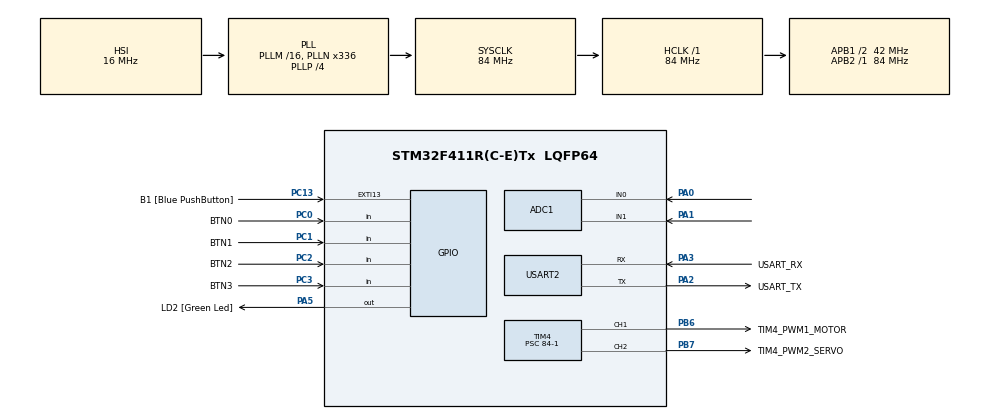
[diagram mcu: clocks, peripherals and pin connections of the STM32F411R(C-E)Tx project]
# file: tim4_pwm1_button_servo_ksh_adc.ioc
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ADC1.Channel-0\#ChannelRegularConversion=ADC_CHANNEL_0
ADC1.Channel-1\#ChannelRegularConversion=ADC_CHANNEL_1
ADC1.ClockPrescaler=ADC_CLOCK_SYNC_PCLK_DIV6
ADC1.NbrOfConversion=2
ADC1.NbrOfConversionFlag=1
ADC1.Rank-0\#ChannelRegularConversion=1
ADC1.Rank-1\#ChannelRegularConversion=2
ADC1.SamplingTime-0\#ChannelRegularConversion=ADC_SAMPLETIME_84CYCLES
ADC1.SamplingTime-1\#ChannelRegularConversion=ADC_SAMPLETIME_84CYCLES
ADC1.master=1
Mcu.Family=STM32F4
Mcu.Name=STM32F411R(C-E)Tx
Mcu.Package=LQFP64
NVIC.ADC_IRQn=true\:0\:0\:false\:false\:true\:true\:true\:true
NVIC.PriorityGroup=NVIC_PRIORITYGROUP_0
NVIC.TIM4_IRQn=true\:0\:0\:false\:false\:true\:true\:true\:true
PA0-WKUP.Signal=ADCx_IN0
PA1.Signal=ADCx_IN1
PA13.GPIO_Label=TMS
PA13.Mode=Serial_Wire
PA13.Signal=SYS_JTMS-SWDIO
PA14.GPIO_Label=TCK
PA14.Mode=Serial_Wire
PA14.Signal=SYS_JTCK-SWCLK
PA2.GPIO_Label=USART_TX
PA2.Mode=Asynchronous
PA2.Signal=USART2_TX
PA3.GPIO_Label=USART_RX
PA3.Mode=Asynchronous
PA3.Signal=USART2_RX
PA5.GPIO_Label=LD2 [Green Led]
PA5.Signal=GPIO_Output
PB3.GPIO_Label=SWO
PB3.Signal=SYS_JTDO-SWO
PB6.GPIO_Label=TIM4_PWM1_MOTOR
PB6.Signal=S_TIM4_CH1
PB7.GPIO_Label=TIM4_PWM2_SERVO
PB7.Signal=S_TIM4_CH2
PC0.GPIO_Label=BTN0
PC0.Signal=GPIO_Input
PC1.GPIO_Label=BTN1
PC1.Signal=GPIO_Input
PC13-ANTI_TAMP.GPIO_Label=B1 [Blue PushButton]
PC13-ANTI_TAMP.GPIO_ModeDefaultEXTI=GPIO_MODE_IT_FALLING
PC13-ANTI_TAMP.Signal=GPXTI13
PC14-OSC32_IN.Mode=LSE-External-Oscillator
PC14-OSC32_IN.Signal=RCC_OSC32_IN
PC15-OSC32_OUT.Mode=LSE-External-Oscillator
PC15-OSC32_OUT.Signal=RCC_OSC32_OUT
PC2.GPIO_Label=BTN2
PC2.Signal=GPIO_Input
PC3.GPIO_Label=BTN3
PC3.Signal=GPIO_Input
PH0\ -\ OSC_IN.Mode=HSE-External-Clock-Source
PH0\ -\ OSC_IN.Signal=RCC_OSC_IN
PH1\ -\ OSC_OUT.Mode=HSE-External-Clock-Source
PH1\ -\ OSC_OUT.Signal=RCC_OSC_OUT
ProjectManager.HeapSize=0x200
ProjectManager.StackSize=0x400
ProjectManager.TargetToolchain=STM32CubeIDE
RCC.48MHZClocksFreq_Value=84000000
RCC.AHBFreq_Value=84000000
RCC.APB1CLKDivider=RCC_HCLK_DIV2
RCC.APB1Freq_Value=42000000
RCC.APB1TimFreq_Value=84000000
RCC.APB2Freq_Value=84000000
RCC.APB2TimFreq_Value=84000000
RCC.CortexFreq_Value=84000000
RCC.FLatency-AdvancedSettings=FLASH_LATENCY_2
RCC.HCLKFreq_Value=84000000
RCC.HSE_VALUE=8000000
RCC.HSI_VALUE=16000000
RCC.PLLN=336
RCC.PLLP=RCC_PLLP_DIV4
RCC.SYSCLKFreq_VALUE=84000000
RCC.SYSCLKSource=RCC_SYSCLKSOURCE_PLLCLK
RCC.VCOOutputFreq_Value=336000000
SH.ADCx_IN0.0=ADC1_IN0,IN0
SH.ADCx_IN1.0=ADC1_IN1,IN1
SH.S_TIM4_CH1.0=TIM4_CH1,PWM Generation1 CH1
SH.S_TIM4_CH2.0=TIM4_CH2,PWM Generation2 CH2
TIM4.AutoReloadPreload=TIM_AUTORELOAD_PRELOAD_ENABLE
TIM4.Channel-PWM\ Generation1\ CH1=TIM_CHANNEL_1
TIM4.Channel-PWM\ Generation2\ CH2=TIM_CHANNEL_2
TIM4.Period=20000-1
TIM4.Prescaler=84-1
TIM4.Pulse-PWM\ Generation1\ CH1=0
USART2.VirtualMode=VM_ASYNC
VP_TIM4_VS_ClockSourceINT.Mode=Internal
board=NUCLEO-F411RE

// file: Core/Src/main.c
/* USER CODE BEGIN Header */
/**
  ******************************************************************************
  * @file           : main.c
  * @brief          : Main program body
  ******************************************************************************
  * @attention
  *
  * Copyright (c) 2025 STMicroelectronics.
  * All rights reserved.
  *
  * This software is licensed under terms that can be found in the LICENSE file
  * in the root directory of this software component.
  * If no LICENSE file comes with this software, it is provided AS-IS.
  *
  ******************************************************************************
  */
/* USER CODE END Header */
#include "main.h"

/* USER CODE BEGIN Includes */
#include <stdio.h>
/* USER CODE END Includes */

/* USER CODE BEGIN PD */
#ifdef __GNUC__
/* With GCC, small printf (option LD Linker->Libraries->Small printf
   set to 'Yes') calls __io_putchar() */
#define PUTCHAR_PROTOTYPE int __io_putchar(int ch)
#else
#define PUTCHAR_PROTOTYPE int fputc(int ch, FILE *f)
#endif /* __GNUC__ */
/* USER CODE END PD */

ADC_HandleTypeDef hadc1;

TIM_HandleTypeDef htim4;

UART_HandleTypeDef huart2;

/* USER CODE BEGIN PV */
volatile int time3SecFlag = 0;
volatile unsigned int time3SecCnt=0;
volatile unsigned int time3Cnt = 0;
volatile int time3CntFlag = 1;
volatile int time3_100msFlag=0;
unsigned long debounceDelay = 100;	//100ms
unsigned long lastDebounceTime = 0;
__IO uint16_t ADC1ConvertValue[2]={0};
__IO int adcFlag = 0;
/* USER CODE END PV */

void SystemClock_Config(void);
static void MX_GPIO_Init(void);
static void MX_USART2_UART_Init(void);
static void MX_TIM4_Init(void);
static void MX_ADC1_Init(void);
/* USER CODE BEGIN PFP */
int getKeyNumber();
/* USER CODE END PFP */

int main(void)
{

  /* USER CODE BEGIN 1 */
	int pluse = 0;
	int keyNumber = 0;
  /* USER CODE END 1 */

  /* MCU Configuration--------------------------------------------------------*/

  /* Reset of all peripherals, Initializes the Flash interface and the Systick. */
  HAL_Init();

  /* Configure the system clock */
  SystemClock_Config();

  /* Initialize all configured peripherals */
  MX_GPIO_Init();
  MX_USART2_UART_Init();
  MX_TIM4_Init();
  MX_ADC1_Init();
  /* USER CODE BEGIN 2 */
  if(HAL_TIM_Base_Start_IT(&htim4) != HAL_OK)
	  Error_Handler();
  if(HAL_TIM_PWM_Start(&htim4,TIM_CHANNEL_1) != HAL_OK)
	  Error_Handler();
  if(HAL_TIM_PWM_Start(&htim4,TIM_CHANNEL_2) != HAL_OK)
	  Error_Handler();
  /* USER CODE END 2 */

  /* Infinite loop */
  /* USER CODE BEGIN WHILE */
  printf("start main()\r\n");
  if(HAL_ADC_Start_IT(&hadc1) != HAL_OK)
	  Error_Handler();
  lastDebounceTime = HAL_GetTick();
  while (1)
  {

//	  HAL_GPIO_WritePin(LD2_GPIO_Port,LD2_Pin,HAL_GPIO_ReadPin(BTN3_GPIO_Port,BTN3_Pin));
	  if(time3SecFlag)
	  {
		  HAL_GPIO_TogglePin(LD2_GPIO_Port,LD2_Pin);
		  time3SecFlag = 0;
//		  printf("time3SecCnt : %d, pluse : %d\r\n",time3SecCnt,pluse);
	  }
	  if(adcFlag)
	  {
		  adcFlag = 0;
//		  printf("VAR=%4d\r\n ",ADC1ConvertValue);
		  printf("VAR=%4d , CDS=%4d\r\n ",ADC1ConvertValue[0],  ADC1ConvertValue[1]);
		  if(HAL_ADC_Start_IT(&hadc1) != HAL_OK)
			  Error_Handler();
		  if(ADC1ConvertValue[0] >= 2800)
			  __HAL_TIM_SetCompare(&htim4,TIM_CHANNEL_2, 1700);
		  else if(ADC1ConvertValue[0] >= 2000)
			  __HAL_TIM_SetCompare(&htim4,TIM_CHANNEL_2, 1300);
		  else
			  __HAL_TIM_SetCompare(&htim4,TIM_CHANNEL_2, 1500);
	  }
	  if((HAL_GetTick() - lastDebounceTime) > debounceDelay)
	  {
		  keyNumber = getKeyNumber();
		  lastDebounceTime = HAL_GetTick();
		  if(keyNumber != 0)
		  {
			  printf("keyNum : %d\r\n",keyNumber);
			  if((pluse == 500 && keyNumber == 1) || (pluse == 2500 && keyNumber == 2))
				  continue;
			  if((pluse == 500 && keyNumber == 3) || (pluse == 2500 && keyNumber == 4))
				  continue;
			  if(keyNumber == 1)	//duty ratio 0%
			  {
				  pluse = 500;
			  }
			  else if(keyNumber == 2)	//duty ratio 100%
			  {
				  pluse = 2500;
			  }
			  else if((keyNumber == 3) && (pluse > 500))
			  {
				  pluse -= 200;	//10%  감소
			  }
			  else if((keyNumber == 4) && (pluse < 2500))
			  {
				  pluse += 200;	//10%	증가
			  }
			  __HAL_TIM_SetCompare(&htim4,TIM_CHANNEL_2, pluse-1);
			  printf("pluse : %d\r\n",pluse);
		  }
#if 0	//tim4_pwm1
		  if(keyNumber != 0)
		  {
			  printf("keyNum : %d\r\n",keyNumber);
			  if((pluse == 0 && keyNumber == 1) || (pluse == 1000 && keyNumber == 2))
				  continue;
			  if((pluse == 0 && keyNumber == 3) || (pluse == 1000 && keyNumber == 4))
				  continue;
			  if(keyNumber == 1)	//duty ratio 0%
			  {
				  pluse = 0;
			  }
			  else if(keyNumber == 2)	//duty ratio 100%
			  {
				  pluse = 1000;
			  }
			  else if((keyNumber == 3) && (pluse > 0))
			  {
				  pluse -= 100;	//10%  감소
			  }
			  else if((keyNumber == 4) && (pluse < 1000))
			  {
				  pluse += 100;	//10%	증가
			  }
			  __HAL_TIM_SetCompare(&htim4,TIM_CHANNEL_1, (pluse-1)<0?0:pluse-1);
			  printf("pluse : %d\r\n",pluse);
		  }
#endif
	  }

#if 0
	  if(time3_100msFlag)
	  {
		  time3_100msFlag = 0;
		  if(pluse < 1000)
		  {
			  pluse += 10;
			  __HAL_TIM_SetCompare(&htim4,TIM_CHANNEL_1, pluse-1);
		  }
		  else if(pluse == 1000)
		  {
			  pluse = 0;
			  __HAL_TIM_SetCompare(&htim4,TIM_CHANNEL_1, pluse);
		  }
		  printf("time3SecCnt : %d, pluse : %d\r\n",time3SecCnt,pluse);
	  }
#endif

    /* USER CODE END WHILE */

  }
}

void SystemClock_Config(void)
{
  RCC_OscInitTypeDef RCC_OscInitStruct = {0};
  RCC_ClkInitTypeDef RCC_ClkInitStruct = {0};

  /** Configure the main internal regulator output voltage
  */
  __HAL_RCC_PWR_CLK_ENABLE();
  __HAL_PWR_VOLTAGESCALING_CONFIG(PWR_REGULATOR_VOLTAGE_SCALE1);

  /** Initializes the RCC Oscillators according to the specified parameters
  * in the RCC_OscInitTypeDef structure.
  */
  RCC_OscInitStruct.OscillatorType = RCC_OSCILLATORTYPE_HSI;
  RCC_OscInitStruct.HSIState = RCC_HSI_ON;
  RCC_OscInitStruct.HSICalibrationValue = RCC_HSICALIBRATION_DEFAULT;
  RCC_OscInitStruct.PLL.PLLState = RCC_PLL_ON;
  RCC_OscInitStruct.PLL.PLLSource = RCC_PLLSOURCE_HSI;
  RCC_OscInitStruct.PLL.PLLM = 16;
  RCC_OscInitStruct.PLL.PLLN = 336;
  RCC_OscInitStruct.PLL.PLLP = RCC_PLLP_DIV4;
  RCC_OscInitStruct.PLL.PLLQ = 4;
  if (HAL_RCC_OscConfig(&RCC_OscInitStruct) != HAL_OK)
  {
    Error_Handler();
  }

  /** Initializes the CPU, AHB and APB buses clocks
  */
  RCC_ClkInitStruct.ClockType = RCC_CLOCKTYPE_HCLK|RCC_CLOCKTYPE_SYSCLK
                              |RCC_CLOCKTYPE_PCLK1|RCC_CLOCKTYPE_PCLK2;
  RCC_ClkInitStruct.SYSCLKSource = RCC_SYSCLKSOURCE_PLLCLK;
  RCC_ClkInitStruct.AHBCLKDivider = RCC_SYSCLK_DIV1;
  RCC_ClkInitStruct.APB1CLKDivider = RCC_HCLK_DIV2;
  RCC_ClkInitStruct.APB2CLKDivider = RCC_HCLK_DIV1;

  if (HAL_RCC_ClockConfig(&RCC_ClkInitStruct, FLASH_LATENCY_2) != HAL_OK)
  {
    Error_Handler();
  }
}

static void MX_ADC1_Init(void)
{

  ADC_ChannelConfTypeDef sConfig = {0};

  /** Configure the global features of the ADC (Clock, Resolution, Data Alignment and number of conversion)
  */
  hadc1.Instance = ADC1;
  hadc1.Init.ClockPrescaler = ADC_CLOCK_SYNC_PCLK_DIV6;
  hadc1.Init.Resolution = ADC_RESOLUTION_12B;
  hadc1.Init.ScanConvMode = ENABLE;
  hadc1.Init.ContinuousConvMode = DISABLE;
  hadc1.Init.DiscontinuousConvMode = DISABLE;
  hadc1.Init.ExternalTrigConvEdge = ADC_EXTERNALTRIGCONVEDGE_NONE;
  hadc1.Init.ExternalTrigConv = ADC_SOFTWARE_START;
  hadc1.Init.DataAlign = ADC_DATAALIGN_RIGHT;
  hadc1.Init.NbrOfConversion = 2;
  hadc1.Init.DMAContinuousRequests = DISABLE;
  hadc1.Init.EOCSelection = ADC_EOC_SINGLE_CONV;
  if (HAL_ADC_Init(&hadc1) != HAL_OK)
  {
    Error_Handler();
  }

  /** Configure for the selected ADC regular channel its corresponding rank in the sequencer and its sample time.
  */
  sConfig.Channel = ADC_CHANNEL_0;
  sConfig.Rank = 1;
  sConfig.SamplingTime = ADC_SAMPLETIME_84CYCLES;
  if (HAL_ADC_ConfigChannel(&hadc1, &sConfig) != HAL_OK)
  {
    Error_Handler();
  }

  /** Configure for the selected ADC regular channel its corresponding rank in the sequencer and its sample time.
  */
  sConfig.Channel = ADC_CHANNEL_1;
  sConfig.Rank = 2;
  if (HAL_ADC_ConfigChannel(&hadc1, &sConfig) != HAL_OK)
  {
    Error_Handler();
  }

}

static void MX_TIM4_Init(void)
{

  TIM_ClockConfigTypeDef sClockSourceConfig = {0};
  TIM_MasterConfigTypeDef sMasterConfig = {0};
  TIM_OC_InitTypeDef sConfigOC = {0};

  htim4.Instance = TIM4;
  htim4.Init.Prescaler = 84-1;
  htim4.Init.CounterMode = TIM_COUNTERMODE_UP;
  htim4.Init.Period = 20000-1;
  htim4.Init.ClockDivision = TIM_CLOCKDIVISION_DIV1;
  htim4.Init.AutoReloadPreload = TIM_AUTORELOAD_PRELOAD_ENABLE;
  if (HAL_TIM_Base_Init(&htim4) != HAL_OK)
  {
    Error_Handler();
  }
  sClockSourceConfig.ClockSource = TIM_CLOCKSOURCE_INTERNAL;
  if (HAL_TIM_ConfigClockSource(&htim4, &sClockSourceConfig) != HAL_OK)
  {
    Error_Handler();
  }
  if (HAL_TIM_PWM_Init(&htim4) != HAL_OK)
  {
    Error_Handler();
  }
  sMasterConfig.MasterOutputTrigger = TIM_TRGO_RESET;
  sMasterConfig.MasterSlaveMode = TIM_MASTERSLAVEMODE_DISABLE;
  if (HAL_TIMEx_MasterConfigSynchronization(&htim4, &sMasterConfig) != HAL_OK)
  {
    Error_Handler();
  }
  sConfigOC.OCMode = TIM_OCMODE_PWM1;
  sConfigOC.Pulse = 0;
  sConfigOC.OCPolarity = TIM_OCPOLARITY_HIGH;
  sConfigOC.OCFastMode = TIM_OCFAST_DISABLE;
  if (HAL_TIM_PWM_ConfigChannel(&htim4, &sConfigOC, TIM_CHANNEL_1) != HAL_OK)
  {
    Error_Handler();
  }
  if (HAL_TIM_PWM_ConfigChannel(&htim4, &sConfigOC, TIM_CHANNEL_2) != HAL_OK)
  {
    Error_Handler();
  }
  HAL_TIM_MspPostInit(&htim4);

}

static void MX_USART2_UART_Init(void)
{

  huart2.Instance = USART2;
  huart2.Init.BaudRate = 115200;
  huart2.Init.WordLength = UART_WORDLENGTH_8B;
  huart2.Init.StopBits = UART_STOPBITS_1;
  huart2.Init.Parity = UART_PARITY_NONE;
  huart2.Init.Mode = UART_MODE_TX_RX;
  huart2.Init.HwFlowCtl = UART_HWCONTROL_NONE;
  huart2.Init.OverSampling = UART_OVERSAMPLING_16;
  if (HAL_UART_Init(&huart2) != HAL_OK)
  {
    Error_Handler();
  }

}

static void MX_GPIO_Init(void)
{
  GPIO_InitTypeDef GPIO_InitStruct = {0};

  /* GPIO Ports Clock Enable */
  __HAL_RCC_GPIOC_CLK_ENABLE();
  __HAL_RCC_GPIOH_CLK_ENABLE();
  __HAL_RCC_GPIOA_CLK_ENABLE();
  __HAL_RCC_GPIOB_CLK_ENABLE();

  /*Configure GPIO pin Output Level */
  HAL_GPIO_WritePin(LD2_GPIO_Port, LD2_Pin, GPIO_PIN_RESET);

  /*Configure GPIO pin : B1_Pin */
  GPIO_InitStruct.Pin = B1_Pin;
  GPIO_InitStruct.Mode = GPIO_MODE_IT_FALLING;
  GPIO_InitStruct.Pull = GPIO_NOPULL;
  HAL_GPIO_Init(B1_GPIO_Port, &GPIO_InitStruct);

  /*Configure GPIO pins : BTN0_Pin BTN1_Pin BTN2_Pin BTN3_Pin */
  GPIO_InitStruct.Pin = BTN0_Pin|BTN1_Pin|BTN2_Pin|BTN3_Pin;
  GPIO_InitStruct.Mode = GPIO_MODE_INPUT;
  GPIO_InitStruct.Pull = GPIO_NOPULL;
  HAL_GPIO_Init(GPIOC, &GPIO_InitStruct);

  /*Configure GPIO pin : LD2_Pin */
  GPIO_InitStruct.Pin = LD2_Pin;
  GPIO_InitStruct.Mode = GPIO_MODE_OUTPUT_PP;
  GPIO_InitStruct.Pull = GPIO_NOPULL;
  GPIO_InitStruct.Speed = GPIO_SPEED_FREQ_LOW;
  HAL_GPIO_Init(LD2_GPIO_Port, &GPIO_InitStruct);

}

/* USER CODE BEGIN 4 */
void HAL_TIM_PeriodElapsedCallback(TIM_HandleTypeDef *htim)
{
	if(htim->Instance == TIM4)
	{
		time3CntFlag = 1;
		time3Cnt++;
		if(!(time3Cnt % 100))	//1ms * 100 = 100ms
			time3_100msFlag = 1;
		if(time3Cnt >= 1000)	// 1ms * 1000 = 1Sec
		{
			time3SecCnt++;
			time3SecFlag = 1;
			time3Cnt = 0;
		}
	}
}
/**
  * @brief  Retargets the C library printf function to the USART.
  * @param  None
  * @retval None
  */
PUTCHAR_PROTOTYPE
{
  /* Place your implementation of fputc here */
  /* e.g. write a character to the USART6 and Loop until the end of transmission */
  HAL_UART_Transmit(&huart2, (uint8_t *)&ch, 1, 0xFFFF);

  return ch;
}
int getKeyNumber()
{
	int keyNumber = 0;
	int buttonState=0;
	static int keyNumberOld=0;
	for(int i=0;i<4;i++)
	{
		  buttonState = HAL_GPIO_ReadPin(BTN0_GPIO_Port,BTN0_Pin<<i);
		  if(buttonState)
		  {
			  keyNumber = i+1;
			  if(keyNumber != keyNumberOld)
			  {
				  keyNumberOld = keyNumber;
				  return keyNumber;  //keyNum 1 ~ 4
			  }
			  else
				  return 0;
		  }
	}
	keyNumberOld=0;
	return keyNumber;
}
void HAL_ADC_ConvCpltCallback(ADC_HandleTypeDef *hadc)
{

	static int channel=0;
	if(channel == 0)
	{
		ADC1ConvertValue[channel] = HAL_ADC_GetValue(hadc);
		channel = 1;
	}
	else if(channel == 1)
	{
		ADC1ConvertValue[channel]= HAL_ADC_GetValue(hadc);
		channel = 0;
		adcFlag = 1;
	}
}
/* USER CODE END 4 */

void Error_Handler(void)
{
  /* USER CODE BEGIN Error_Handler_Debug */
  /* User can add his own implementation to report the HAL error return state */
  __disable_irq();
  while (1)
  {
	  printf("Error_Handler()\r\n");
  }
  /* USER CODE END Error_Handler_Debug */
}
